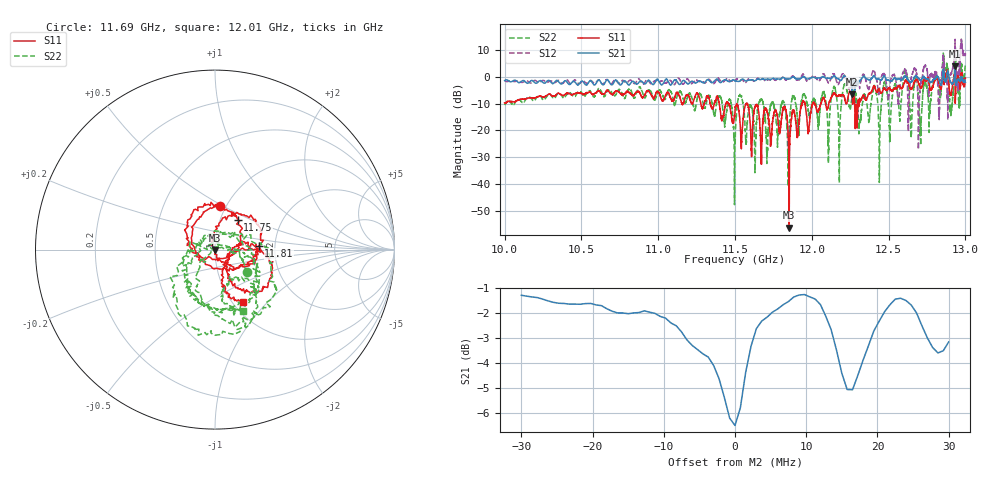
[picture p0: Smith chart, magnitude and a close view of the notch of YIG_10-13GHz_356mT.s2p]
#  HZ  S  RI  R  50.0
! Rohde & Schwarz ZVL13 2Ports - Version 3.31 - 1303.6509k13 SN: 101088
! Date: 2023-03-06 15:59:28
! Data & Calibration Information:
! Trc4:S11(TOSM) Trc2:S21(TOSM) Trc3:S12(TOSM) Trc5:S22(TOSM)
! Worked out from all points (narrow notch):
!   4000 points, 10 GHz to 13 GHz, reference 50 ohm
!   highest |S21| = 3.87 dB at 12.93 GHz (marker M1); lowest = -6.5 dB at 12.26 GHz (marker M2)
!   notch at M2: 5.1 dB deep, 5.11 MHz wide at half that depth
!   lowest |S11| = -56.3 dB at 11.85 GHz (marker M3), VSWR 1.00, Z = 50 - j0.152 ohm
!   |S11| at or under -10 dB: 11.46 GHz to 11.57 GHz (115.9 MHz wide, 1.01 % of centre); 11.58 GHz to 11.94 GHz (355.6 MHz wide, 3.02 % of centre); 11.95493 GHz to 12.00671 GHz (51.78 MHz wide, 0.432 % of centre)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
!   |S22| runs from -47.7 to 11.2 dB; largest |S21 - S12| = 4.1
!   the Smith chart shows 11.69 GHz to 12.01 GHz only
!   S11 on the Smith chart (normalised r, x): 11.69 GHz: 0.94, +0.49; 11.75 GHz: 1.21, +0.42; 11.81 GHz: 1.64, +0.07; 12.01 GHz: 1.12, -0.74
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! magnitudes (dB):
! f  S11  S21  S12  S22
! 10 GHz  -9.7  -1.4  -1.5  -10.5
! 10.5 GHz  -6.3  -1.6  -1.8  -5.7
! 11 GHz  -5.7  -1.2  -1.8  -5.6
! 11.47 GHz  -11.0  -1.8  -1.4  -8.5
! 11.5 GHz  -11.6  -1.5  -1.4  -24.3
! 11.53 GHz  -16.8  -1.6  -1.3  -6.5
! 11.69 GHz  -12.2  -1.0  -1.4  -13.3
! 11.75 GHz  -13.6  -0.7  -0.9  -10.2
! 11.81 GHz  -12.2  -0.2  -0.2  -8.9
! 11.85 GHz  -56.3  -0.8  -0.8  -18.3
! 11.88 GHz  -12.5  0.0  0.2  -7.1
! 12 GHz  -11.4  -0.3  0.0  -10.3
! 12.01 GHz  -9.6  -0.1  0.4  -8.5
! 12.26 GHz  -7.3  -6.5  -4.8  -7.2
! 12.48 GHz  -4.5  0.0  0.3  -2.2
! 12.5 GHz  -4.1  -1.3  -7.9  -12.1
! 12.61 GHz  -1.4  0.2  2.6  1.9
! 12.71 GHz  -4.1  -1.2  -2.9  -21.3
! 12.87 GHz  -0.1  -0.9  0.9  3.3
! 12.91 GHz  -5.7  -2.3  1.5  -12.9
! 12.93 GHz  1.5  3.9  14.0  11.2
! 13 GHz  -0.4  -2.1  8.8  4.7
